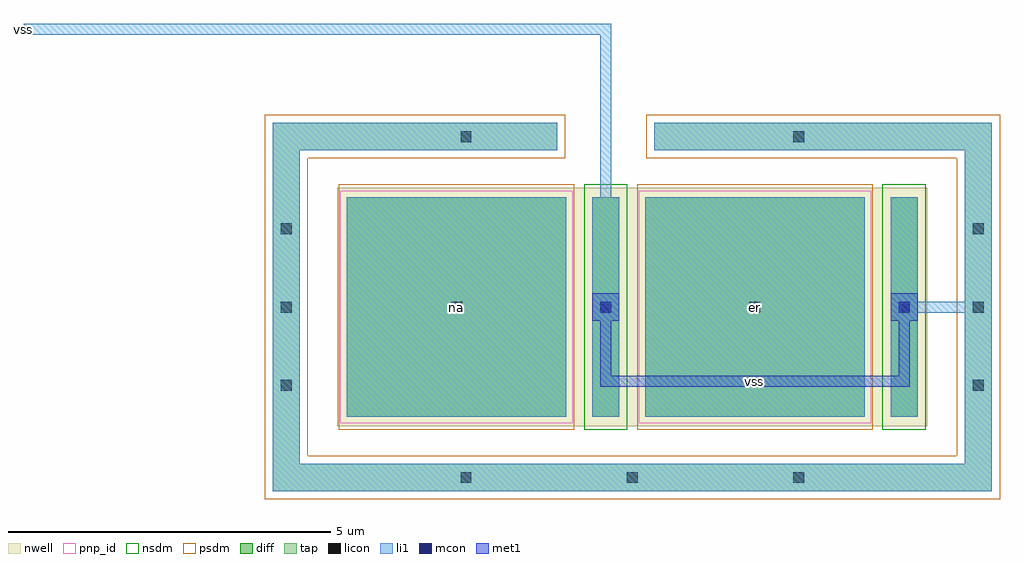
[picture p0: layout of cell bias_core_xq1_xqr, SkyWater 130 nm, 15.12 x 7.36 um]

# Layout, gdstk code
import gdstk
lib = gdstk.Library(unit=1e-6, precision=1e-09)
def R(c, l, rs):  # rectangles x0, y0, x1, y1
    for r in rs: c.add(gdstk.rectangle(r[:2], r[2:], *l))
def A(c, l, x, y, w, h, nx, ny, dx, dy):  # array of equal rectangles
    R(c, l, [(x+i*dx, y+j*dy, x+i*dx+w, y+j*dy+h) for i in range(nx) for j in range(ny)])
def P(c, l, *ps):  # polygons
    for p in ps: c.add(gdstk.Polygon(p, *l))
nwell = (64, 20)
diff = (65, 20)
tap = (65, 44)
licon = (66, 44)
li1 = (67, 20)
mcon = (67, 44)
met1 = (68, 20)
pnp_id = (82, 44)
nsdm = (93, 44)
psdm = (94, 20)

bjt_array = lib.new_cell('bjt_array')
R(bjt_array, nwell, [(-0.15,-0.15,8.99,3.55)])
R(bjt_array, diff, [(0,0,3.4,3.4), (3.8,0,4.22,3.4), (4.62,0,8.02,3.4), (8.42,0,8.84,3.4)])
R(bjt_array, tap, [(3.8,0,4.22,3.4), (8.42,0,8.84,3.4)])
P(bjt_array, tap, [(-1.15,-1.15),(-1.15,4.55),(3.26,4.55),(3.26,4.13),(-0.73,4.13),(-0.73,-0.73),(9.57,-0.73),(9.57,4.13),(4.76,4.13),(4.76,4.55),(9.99,4.55),(9.99,-1.15)])
A(bjt_array, licon, 1.76, -1.025, 0.17, 0.17, 3, 1, 2.575, 0)
A(bjt_array, licon, -1.025, 0.4, 0.17, 0.17, 1, 3, 0, 1.215)
A(bjt_array, licon, 9.695, 0.4, 0.17, 0.17, 1, 3, 0, 1.215)
A(bjt_array, licon, 1.615, 1.615, 0.17, 0.17, 4, 1, 2.31, 0)
R(bjt_array, licon, [(1.76,4.255,1.93,4.425), (6.91,4.255,7.08,4.425)])
R(bjt_array, li1, [(0,0,3.4,3.4), (3.8,0,4.22,3.4), (4.62,0,8.02,3.4), (8.42,0,8.84,3.4)])
P(bjt_array, li1, [(-1.15,-1.15),(-1.15,4.55),(3.26,4.55),(3.26,4.13),(-0.73,4.13),(-0.73,-0.73),(9.57,-0.73),(9.57,4.13),(4.76,4.13),(4.76,4.55),(9.99,4.55),(9.99,-1.15)])
R(bjt_array, pnp_id, [(-0.1,-0.1,3.5,3.5), (4.52,-0.1,8.12,3.5)])
R(bjt_array, nsdm, [(3.675,-0.2,4.345,3.6), (8.295,-0.2,8.965,3.6)])
R(bjt_array, psdm, [(-0.125,-0.2,3.525,3.6), (4.495,-0.2,8.145,3.6)])
P(bjt_array, psdm, [(-1.275,-1.275),(-1.275,4.675),(3.385,4.675),(3.385,4.005),(-0.605,4.005),(-0.605,-0.605),(9.445,-0.605),(9.445,4.005),(4.635,4.005),(4.635,4.675),(10.115,4.675),(10.115,-1.275)])

array__xq1_xqr = lib.new_cell('array__xq1_xqr')
array__xq1_xqr.add(gdstk.Reference(bjt_array, (0,0)))

stub_vss__promo_stub = lib.new_cell('stub_vss__promo_stub')
R(stub_vss__promo_stub, li1, [(0,0,1.5,0.17)])

bias_core_xq1_xqr = lib.new_cell('bias_core_xq1_xqr')
R(bias_core_xq1_xqr, tap, [(9.57,1.49,9.99,1.91)])
R(bias_core_xq1_xqr, licon, [(9.695,1.615,9.865,1.785)])
R(bias_core_xq1_xqr, li1, [(3.8,1.49,4.22,1.91), (8.42,1.49,8.84,1.91), (9.57,1.49,9.99,1.91), (3.9,1.7,4.12,1.87), (8.52,1.7,8.74,1.87)])
R(bias_core_xq1_xqr, mcon, [(3.925,1.615,4.095,1.785), (8.545,1.615,8.715,1.785)])
R(bias_core_xq1_xqr, met1, [(3.8,1.49,4.22,1.91), (8.42,1.49,8.84,1.91)])
bias_core_xq1_xqr.add(gdstk.FlexPath([(8.63,1.7),(9.78,1.7)], 0.17, ends="flush", simple_path=True, layer=67, datatype=20))  # li1
bias_core_xq1_xqr.add(gdstk.FlexPath([(4.01,1.7),(4.01,6),(-3.5,6)], 0.17, ends="flush", simple_path=True, layer=67, datatype=20))  # li1
bias_core_xq1_xqr.add(gdstk.FlexPath([(4.01,1.7),(4.01,0.55),(8.63,0.55),(8.63,1.7)], 0.17, ends="flush", simple_path=True, layer=68, datatype=20))  # met1
bias_core_xq1_xqr.add(gdstk.Reference(array__xq1_xqr, (0,0)))
bias_core_xq1_xqr.add(gdstk.Reference(stub_vss__promo_stub, (-5,5.915)))
bias_core_xq1_xqr.add(gdstk.Label('vss', (6.32,0.55), layer=68, texttype=5))
bias_core_xq1_xqr.add(gdstk.Label('na', (1.7,1.7), layer=67, texttype=5))
bias_core_xq1_xqr.add(gdstk.Label('er', (6.32,1.7), layer=67, texttype=5))
bias_core_xq1_xqr.add(gdstk.Label('vss', (-5,6), layer=67, texttype=5))

lib.write_gds('bias_core_xq1_xqr.gds')
